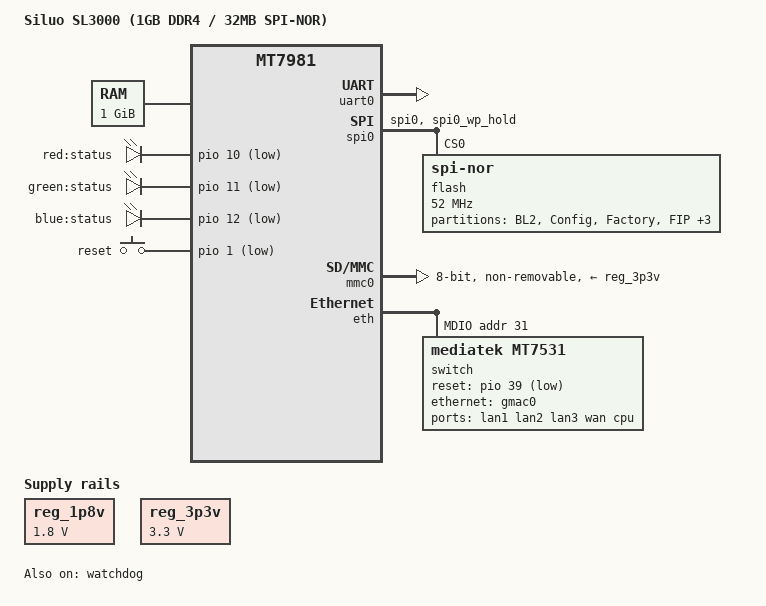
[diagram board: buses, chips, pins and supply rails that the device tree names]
// SPDX-License-Identifier: GPL-2.0-or-later
/dts-v1/;
#include "mt7981.dtsi"
#include <dt-bindings/gpio/gpio.h>
#include <dt-bindings/input/input.h>
#include <dt-bindings/leds/common.h>

/ {
	model = "Siluo SL3000 (1GB DDR4 / 32MB SPI-NOR)";
	compatible = "siluo,sl3000-spi-rescue", "mediatek,mt7981";

	aliases {
		serial0 = &uart0;
		led-boot = &status_green_led;
		led-failsafe = &status_red_led;
		led-running = &status_green_led;
		led-upgrade = &status_blue_led;
		label-mac-device = &gmac0;
	};

	chosen {
		stdout-path = "serial0:115200n8";
		bootargs = "console=ttyS0,115200n8 earlycon=uart8250,mmio32,0x11002000";
	};

	memory@40000000 {
		device_type = "memory";
		reg = <0x0 0x40000000 0x0 0x40000000>;
	};

	reg_1p8v: regulator-1p8v {
		compatible = "regulator-fixed";
		regulator-name = "fixed-1.8V";
		regulator-min-microvolt = <1800000>;
		regulator-max-microvolt = <1800000>;
		regulator-boot-on;
		regulator-always-on;
	};

	reg_3p3v: regulator-3p3v {
		compatible = "regulator-fixed";
		regulator-name = "fixed-3.3V";
		regulator-min-microvolt = <3300000>;
		regulator-max-microvolt = <3300000>;
		regulator-boot-on;
		regulator-always-on;
	};

	leds {
		compatible = "gpio-leds";
		status_red_led: led-0 {
			label = "red:status";
			gpios = <&pio 10 GPIO_ACTIVE_LOW>;
		};
		status_green_led: led-1 {
			label = "green:status";
			gpios = <&pio 11 GPIO_ACTIVE_LOW>;
			linux,default-trigger = "heartbeat";
		};
		status_blue_led: led-2 {
			label = "blue:status";
			gpios = <&pio 12 GPIO_ACTIVE_LOW>;
		};
	};

	keys {
		compatible = "gpio-keys";
		reset {
			label = "reset";
			linux,code = <KEY_RESTART>;
			gpios = <&pio 1 GPIO_ACTIVE_LOW>;
		};
	};
};

&uart0 { status = "okay"; };
&watchdog { status = "okay"; };

&spi0 {
	pinctrl-0 = <&spi0_flash_pins>;
	pinctrl-names = "default";
	status = "okay";

	flash@0 {
		compatible = "jedec,spi-nor";
		reg = <0>;
		spi-max-frequency = <52000000>;

		partitions {
			compatible = "fixed-partitions";
			#address-cells = <1>;
			#size-cells = <1>;

			// BL2: 0x000000 - 0x100000 (1MB)
			partition@0 {
				label = "BL2";
				reg = <0x000000 0x100000>;
				read-only;
			};

			// Config: 0x100000 - 0x180000 (512KB)
			partition@100000 {
				label = "Config";
				reg = <0x100000 0x080000>;
			};

			// Factory: 0x180000 - 0x380000 (2MB)
			partition@180000 {
				label = "Factory";
				reg = <0x180000 0x200000>;
				read-only;
			};

			// FIP: 0x380000 - 0x580000 (2MB)
			partition@380000 {
				label = "FIP";
				reg = <0x380000 0x200000>;
				read-only;
			};

			// firmware (FIT): 0x580000 - 0x1e80000 (25MB)
			partition@580000 {
				label = "firmware";
				reg = <0x580000 0x1900000>;
			};

			// Product: 0x1e80000 - 0x1ea0000 (128KB)
			partition@1e80000 {
				label = "Product";
				reg = <0x1e80000 0x020000>;
			};

			// Custom: 0x1ea0000 - 0x2000000 (1.375MB)
			partition@1ea0000 {
				label = "Custom";
				reg = <0x1ea0000 0x160000>;
			};
		};
	};
};

&mmc0 {
	status = "okay";
	bus-width = <8>;
	max-frequency = <52000000>;
	cap-mmc-highspeed;
	cap-mmc-hw-reset;
	vmmc-supply = <&reg_3p3v>;
	vqmmc-supply = <&reg_1p8v>;
	non-removable;
	no-sd;
	no-sdio;
};

&eth {
	status = "okay";
	gmac0: mac@0 {
		compatible = "mediatek,eth-mac";
		reg = <0>;
		phy-mode = "2500base-x";
		fixed-link {
			speed = <2500>;
			full-duplex;
			pause;
		};
	};
	mdio: mdio-bus {
		#address-cells = <1>;
		#size-cells = <0>;
		switch@0 {
			compatible = "mediatek,mt7531";
			reg = <31>;
			reset-gpios = <&pio 39 GPIO_ACTIVE_LOW>;
			ports {
				#address-cells = <1>;
				#size-cells = <0>;
				port@0 { reg = <0>; label = "lan1"; };
				port@1 { reg = <1>; label = "lan2"; };
				port@2 { reg = <2>; label = "lan3"; };
				port@3 { reg = <3>; label = "wan"; };
				port@6 {
					reg = <6>;
					label = "cpu";
					ethernet = <&gmac0>;
					phy-mode = "2500base-x";
					fixed-link {
						speed = <2500>;
						full-duplex;
						pause;
					};
				};
			};
		};
	};
};

&pio {
	spi0_flash_pins: spi0-pins {
		mux {
			function = "spi";
			groups = "spi0", "spi0_wp_hold";
		};
	};
};
